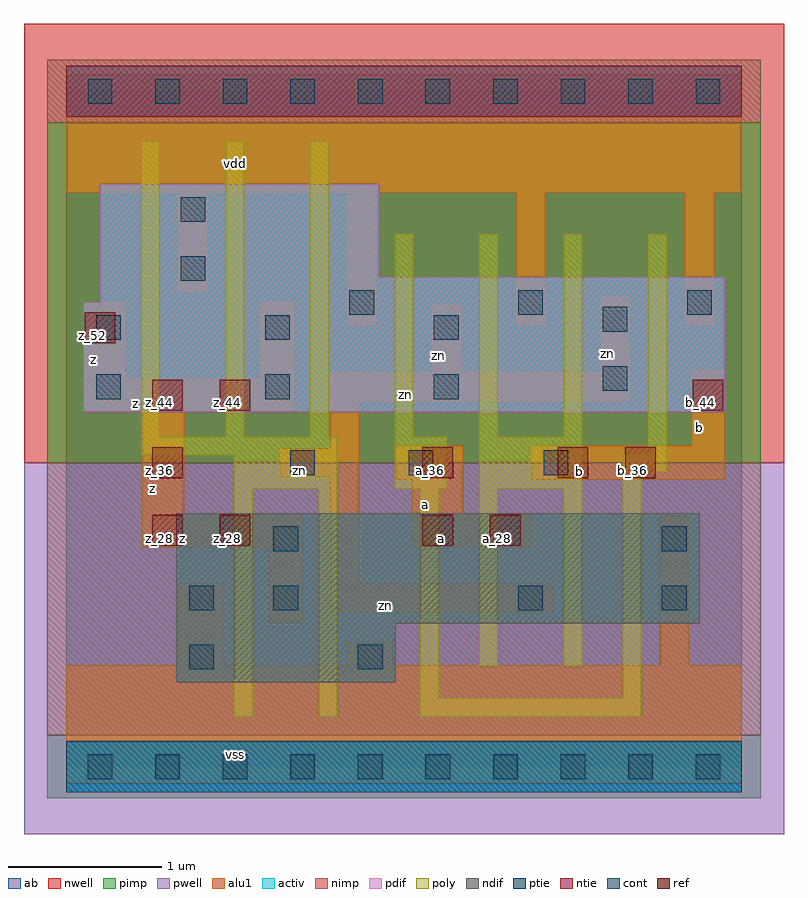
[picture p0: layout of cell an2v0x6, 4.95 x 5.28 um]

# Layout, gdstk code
import gdstk
lib = gdstk.Library(unit=1e-6, precision=2.5e-09)
def R(c, l, rs):  # rectangles x0, y0, x1, y1
    for r in rs: c.add(gdstk.rectangle(r[:2], r[2:], *l))
def A(c, l, x, y, w, h, nx, ny, dx, dy):  # array of equal rectangles
    R(c, l, [(x+i*dx, y+j*dy, x+i*dx+w, y+j*dy+h) for i in range(nx) for j in range(ny)])
ndif = (3, 0)
pdif = (4, 0)
ntie = (5, 0)
ptie = (6, 0)
ref = (24, 0)
cont = (25, 0)
pwell = (41, 0)
nwell = (42, 0)
activ = (43, 0)
pimp = (44, 0)
nimp = (45, 0)
poly = (46, 0)
alu1 = (49, 0)
ab = (63, 0)

an2v0x6 = lib.new_cell('an2v0x6')
R(an2v0x6, ndif, [(0.715,0.55,2.145,0.935), (0.715,0.935,4.125,1.65)])
R(an2v0x6, pdif, [(0.11,2.31,4.29,3.025), (0.22,3.025,4.29,3.19), (0.22,3.19,2.035,3.795)])
R(an2v0x6, ntie, [(0,4.235,4.4,4.565)])
R(an2v0x6, ptie, [(0,-0.165,4.4,0.165)])
A(an2v0x6, ref, 0.56, 1.44, 0.2, 0.2, 1, 3, 0, 0.44)
R(an2v0x6, ref, [(1,1.44,1.2,1.64), (2.32,1.44,2.52,1.64), (2.76,1.44,2.96,1.64), (2.32,1.88,2.52,2.08), (3.2,1.88,3.4,2.08), (3.64,1.88,3.84,2.08), (1,2.32,1.2,2.52), (4.08,2.32,4.28,2.52), (0.12,2.76,0.32,2.96)])
A(an2v0x6, cont, 0.14, -0.08, 0.16, 0.16, 10, 2, 0.44, 4.4)
A(an2v0x6, cont, 0.195, 2.395, 0.16, 0.16, 3, 2, 1.1, 0.385)
A(an2v0x6, cont, 1.845, 2.945, 0.16, 0.16, 3, 1, 1.1, 0)
R(an2v0x6, cont, [(0.8,0.635,0.96,0.795), (1.9,0.635,2.06,0.795), (0.8,1.02,0.96,1.18), (1.35,1.02,1.51,1.18), (2.945,1.02,3.105,1.18), (3.88,1.02,4.04,1.18), (1.35,1.405,1.51,1.565), (3.88,1.405,4.04,1.565), (1.46,1.9,1.62,2.06), (2.23,1.9,2.39,2.06), (3.11,1.9,3.27,2.06), (3.495,2.45,3.655,2.61), (3.495,2.835,3.655,2.995), (0.745,3.165,0.905,3.325), (0.745,3.55,0.905,3.71)])
R(an2v0x6, pwell, [(-0.275,-0.44,4.675,1.98)])
R(an2v0x6, nwell, [(-0.275,1.98,4.675,4.84)])
R(an2v0x6, activ, [(0,-0.165,4.4,0.165), (0.715,0.55,2.145,0.935), (0.715,0.935,4.125,1.65), (0.11,2.31,4.29,3.025), (0.22,3.025,4.29,3.19), (0.22,3.19,2.035,3.795), (0,4.235,4.4,4.565)])
R(an2v0x6, pimp, [(-0.125,-0.205,4.525,0.205), (-0.125,1.98,4.525,4.195)])
R(an2v0x6, nimp, [(-0.125,0.205,4.525,1.98), (-0.125,4.195,4.525,4.605)])
A(an2v0x6, poly, 0.49, 2.15, 0.12, 1.925, 3, 1, 0.55, 0)
A(an2v0x6, poly, 2.14, 2.15, 0.12, 1.32, 3, 1, 0.55, 0)
R(an2v0x6, poly, [(1.095,0.325,1.215,1.81), (1.645,0.325,1.765,1.81), (2.305,0.325,3.745,0.445), (2.305,0.445,2.425,1.81), (3.625,0.445,3.745,1.92), (2.69,0.655,2.81,1.81), (3.24,0.655,3.36,1.81), (1.095,1.81,1.765,2.03), (2.14,1.81,2.48,2.15), (2.69,1.81,3.36,2.15), (3.625,1.92,3.91,2.04), (0.49,2.03,1.765,2.15), (3.79,2.04,3.91,3.47)])
A(an2v0x6, alu1, 1.83, 2.875, 0.19, 0.865, 3, 1, 1.1, 0)
R(an2v0x6, alu1, [(0,-0.11,4.4,0.66), (0.73,0.66,1.03,1.195), (1.83,0.66,2.13,0.81), (3.865,0.66,4.055,1.635), (1.32,0.935,1.54,1.43), (1.72,1.005,3.175,1.195), (1.72,1.195,1.91,1.885), (0.495,1.43,1.54,1.65), (2.255,1.43,3.025,1.65), (0.495,1.65,0.77,2.31), (2.255,1.65,2.585,1.87), (2.145,1.87,2.585,2.09), (3.025,1.87,4.29,2.09), (1.39,1.885,1.91,2.075), (1.72,2.075,1.91,2.38), (4.07,2.09,4.29,2.585), (0.11,2.31,1.485,2.53), (1.72,2.38,3.67,2.57), (0.11,2.53,0.385,3.025), (1.265,2.53,1.485,3.025), (2.38,2.57,2.57,3.01), (3.48,2.57,3.67,3.065), (0.73,3.095,0.92,3.74), (0,3.74,4.4,4.51)])
R(an2v0x6, ab, [(0,0,4.4,4.4)])
an2v0x6.add(gdstk.Label('vss', (1.1,0.0825), layer=49, texttype=0))
an2v0x6.add(gdstk.Label('zn', (2.0825,1.0525), layer=49, texttype=0))
an2v0x6.add(gdstk.Label('a', (2.4475,1.485), layer=49, texttype=0))
an2v0x6.add(gdstk.Label('a', (2.3375,1.705), layer=49, texttype=0))
an2v0x6.add(gdstk.Label('b', (3.34,1.925), layer=49, texttype=0))
an2v0x6.add(gdstk.Label('z', (0.755,1.485), layer=49, texttype=0))
an2v0x6.add(gdstk.Label('zn', (1.52,1.9325), layer=49, texttype=0))
an2v0x6.add(gdstk.Label('b', (4.125,2.2125), layer=49, texttype=0))
an2v0x6.add(gdstk.Label('z', (0.5625,1.815), layer=49, texttype=0))
an2v0x6.add(gdstk.Label('zn', (2.2075,2.4275), layer=49, texttype=0))
an2v0x6.add(gdstk.Label('z', (0.4525,2.365), layer=49, texttype=0))
an2v0x6.add(gdstk.Label('zn', (3.5275,2.6925), layer=49, texttype=0))
an2v0x6.add(gdstk.Label('zn', (2.4275,2.68), layer=49, texttype=0))
an2v0x6.add(gdstk.Label('z', (0.1775,2.6525), layer=49, texttype=0))
an2v0x6.add(gdstk.Label('vdd', (1.1,3.9325), layer=49, texttype=0))
an2v0x6.add(gdstk.Label('b_44', (4.13,2.37), layer=24, texttype=0))
an2v0x6.add(gdstk.Label('b_36', (3.69,1.93), layer=24, texttype=0))
an2v0x6.add(gdstk.Label('b_36', (3.25,1.93), layer=24, texttype=0))
an2v0x6.add(gdstk.Label('a_28', (2.81,1.49), layer=24, texttype=0))
an2v0x6.add(gdstk.Label('a_36', (2.37,1.93), layer=24, texttype=0))
an2v0x6.add(gdstk.Label('a_28', (2.37,1.49), layer=24, texttype=0))
an2v0x6.add(gdstk.Label('z_52', (0.17,2.81), layer=24, texttype=0))
an2v0x6.add(gdstk.Label('z_44', (1.05,2.37), layer=24, texttype=0))
an2v0x6.add(gdstk.Label('z_28', (1.05,1.49), layer=24, texttype=0))
an2v0x6.add(gdstk.Label('z_44', (0.61,2.37), layer=24, texttype=0))
an2v0x6.add(gdstk.Label('z_36', (0.61,1.93), layer=24, texttype=0))
an2v0x6.add(gdstk.Label('z_28', (0.61,1.49), layer=24, texttype=0))

lib.write_gds('an2v0x6.gds')
